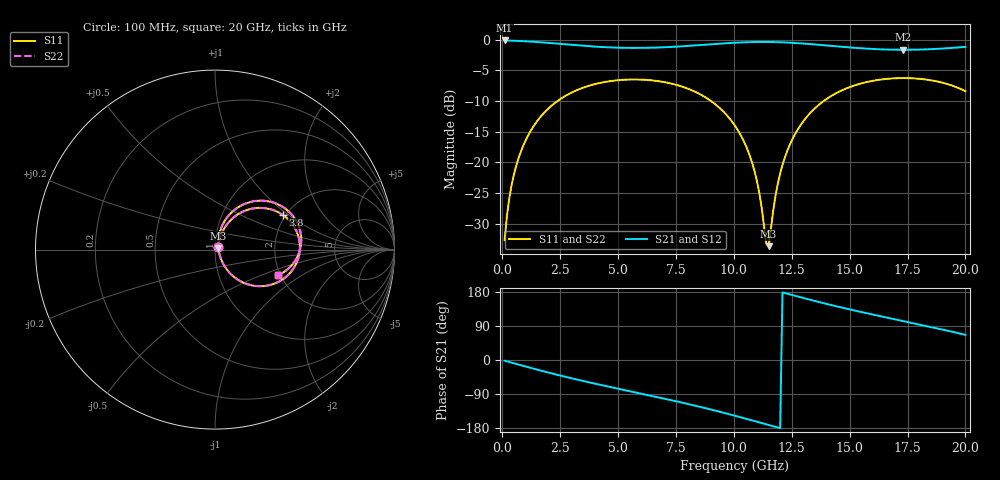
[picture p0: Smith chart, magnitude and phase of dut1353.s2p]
! Touchstone file exported from HFSS 2026.1.0
!  File:  C:/ffzhzh/LocalFiles/Ansys_Project_Files/temp_train_TSV_RDL_1353_1783340998_5512.aedt
!  Generated:  08:44:15 PM Jul  6, 2026
!  Design:  TSV_RDL
!  Project:  temp_train_TSV_RDL_1353_1783340998_5512
! Variables:
!  h_bsmrdl = 4.82um
!  h_ox = 20um
!  h_rdl = 5um
!  h_sub = 79.73um
!  h_tmrdl = 4.56um
!  h_tsv = 79.73um
!  h_via = 3um
!  l_bsmrdl = 264.04um
!  l_sub = 4961.8um
!  l_tmrdl = 905.58um
!  m_sub = 200um
!  pitch = 50.28um
!  r_tsv = 13.19um
!  s_tmrdl = 10um
!  w_bsmrdl = 27.94um
!  w_sub = 500um
!  w_tmrdl = 21.18um
!  x_tsv_center1 = 916.17um
!  x_tsv_center2 = 1208.15um
!  x_tsv_center3 = 2134.91um
!  x_tsv_center4 = 2426.89um
!  x_tsv_center5 = 3353.65um
!  x_tsv_center6 = 3645.63um
# GHz S MA R 50.000000
! Terminal data exported
! Port[1] = TM_RDL1_1_T1
! Port[2] = TM_RDL5_1_T1
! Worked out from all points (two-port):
!   200 points, 100 MHz to 20 GHz, reference 50 ohm
!   highest |S21| = -0.14 dB at 100 MHz (marker M1); lowest = -1.7 dB at 17.3 GHz (marker M2)
!   |S21| within 3 dB of the highest: start of sweep to end of sweep
!   lowest |S11| = -33.6 dB at 11.5 GHz (marker M3), VSWR 1.04, Z = 51.9 + j0.844 ohm
!   |S11| at or under -10 dB: start of sweep to 2.384 GHz; 9.012 GHz to 13.88 GHz (4.869 GHz wide, 42.5 % of centre)
!   |S22| runs from -33.7 to -6.3 dB; largest |S21 - S12| = 1.7e-14
!   S11 on the Smith chart (normalised r, x): 100 MHz: 1.03, +0.03; 3.8 GHz: 1.93, +0.91; 20 GHz: 1.94, -0.65
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0.1  0.02329 43.5  0.9835 -1.8  0.9835 -1.8  0.02329 43.5
! Gamma 0 0 0 0
! Port Impedance 50 0 50 0
0.3  0.05081 63.8  0.9807 -5.3  0.9807 -5.3  0.05081 63.8
0.5  0.0794 67.3  0.9779 -8.7  0.9779 -8.7  0.0794 67.3
1.1  0.1638 64.0  0.966 -18.8  0.966 -18.8  0.1638 64.0
2.1  0.2868 50.7  0.9356 -34.9  0.9356 -34.9  0.2868 50.7
3.5  0.4064 31.3  0.8894 -55.6  0.8894 -55.6  0.4064 31.3
3.8  0.4239 27.3  0.8812 -59.7  0.8812 -59.7  0.4238 27.3
5.3  0.4714 8.0  0.8564 -79.7  0.8564 -79.7  0.4713 8.0
6.8  0.4568 -10.8  0.8626 -99.3  0.8626 -99.3  0.4568 -10.8
8.7  0.3453 -35.9  0.9066 -126.0  0.9066 -126.0  0.3453 -35.9
10.1  0.1923 -54.6  0.9436 -148.0  0.9436 -148.0  0.1923 -54.6
10.9  0.08398 -59.7  0.9551 -161.3  0.9551 -161.3  0.08394 -59.8
11.2  0.04303 -50.8  0.9564 -166.3  0.9564 -166.3  0.04297 -50.8
11.4  0.02183 -15.6  0.9563 -169.7  0.9563 -169.7  0.02175 -15.6
11.5  0.02081 23.0  0.9559 -171.4  0.9559 -171.4  0.02074 23.1
11.8  0.05365 69.8  0.9536 -176.5  0.9536 -176.5  0.05364 69.9
12.2  0.1093 74.6  0.9477 176.8  0.9477 176.8  0.1093 74.7
13.4  0.2643 61.8  0.9157 157.2  0.9157 157.2  0.2643 61.9
14.9  0.4032 41.7  0.8659 134.9  0.8659 134.9  0.4032 41.7
16.7  0.4805 19.0  0.8285 110.7  0.8285 110.7  0.4805 19.1
17.3  0.486 11.7  0.8254 103.0  0.8254 103.0  0.486 11.8
20  0.3799 -22.0  0.8719 66.3  0.8719 66.3  0.3798 -22.0
